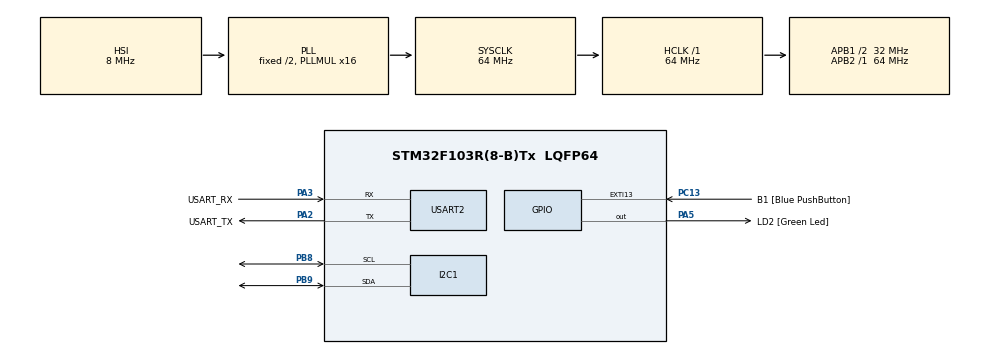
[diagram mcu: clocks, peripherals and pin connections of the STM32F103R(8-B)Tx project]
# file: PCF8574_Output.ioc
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I2C1.I2C_Mode=I2C_Standard
Mcu.Family=STM32F1
Mcu.Name=STM32F103R(8-B)Tx
Mcu.Package=LQFP64
NVIC.EXTI15_10_IRQn=true\:0\:0\:false\:false\:true\:true\:true\:true
NVIC.PriorityGroup=NVIC_PRIORITYGROUP_4
PA13.GPIO_Label=TMS
PA13.Mode=Serial_Wire
PA13.Signal=SYS_JTMS-SWDIO
PA14.GPIO_Label=TCK
PA14.Mode=Serial_Wire
PA14.Signal=SYS_JTCK-SWCLK
PA2.GPIO_Label=USART_TX
PA2.GPIO_Mode=GPIO_MODE_AF_PP
PA2.GPIO_PuPd=GPIO_NOPULL
PA2.GPIO_Speed=GPIO_SPEED_FREQ_LOW
PA2.Mode=Asynchronous
PA2.Signal=USART2_TX
PA3.GPIO_Label=USART_RX
PA3.GPIO_Mode=GPIO_MODE_INPUT
PA3.GPIO_PuPd=GPIO_NOPULL
PA3.Mode=Asynchronous
PA3.Signal=USART2_RX
PA5.GPIO_Label=LD2 [Green Led]
PA5.GPIO_ModeDefaultOutputPP=GPIO_MODE_OUTPUT_PP
PA5.GPIO_PuPd=GPIO_NOPULL
PA5.GPIO_Speed=GPIO_SPEED_FREQ_LOW
PA5.Signal=GPIO_Output
PB3.GPIO_Label=SWO
PB3.Signal=SYS_JTDO-TRACESWO
PB8.Mode=I2C
PB8.Signal=I2C1_SCL
PB9.Mode=I2C
PB9.Signal=I2C1_SDA
PC13-TAMPER-RTC.GPIO_Label=B1 [Blue PushButton]
PC13-TAMPER-RTC.GPIO_PuPd=GPIO_NOPULL
PC13-TAMPER-RTC.Signal=GPXTI13
PC14-OSC32_IN.Mode=LSE-External-Oscillator
PC14-OSC32_IN.Signal=RCC_OSC32_IN
PC15-OSC32_OUT.Mode=LSE-External-Oscillator
PC15-OSC32_OUT.Signal=RCC_OSC32_OUT
PD0-OSC_IN.Mode=HSE-External-Clock-Source
PD0-OSC_IN.Signal=RCC_OSC_IN
PD1-OSC_OUT.Mode=HSE-External-Clock-Source
PD1-OSC_OUT.Signal=RCC_OSC_OUT
ProjectManager.HeapSize=0x200
ProjectManager.StackSize=0x400
ProjectManager.TargetToolchain=STM32CubeIDE
RCC.AHBFreq_Value=64000000
RCC.APB1CLKDivider=RCC_HCLK_DIV2
RCC.APB1Freq_Value=32000000
RCC.APB1TimFreq_Value=64000000
RCC.APB2Freq_Value=64000000
RCC.APB2TimFreq_Value=64000000
RCC.HCLKFreq_Value=64000000
RCC.PLLMUL=RCC_PLL_MUL16
RCC.RTCClockSelection=RCC_RTCCLKSOURCE_LSE
RCC.SYSCLKFreq_VALUE=64000000
RCC.SYSCLKSource=RCC_SYSCLKSOURCE_PLLCLK
RCC.USBFreq_Value=64000000
USART2.VirtualMode=VM_ASYNC
board=NUCLEO-F103RB

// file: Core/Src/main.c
/* USER CODE BEGIN Header */
/**
  ******************************************************************************
  * @file           : main.c
  * @brief          : Main program body
  ******************************************************************************
  * @attention
  *
  * Copyright (c) 2026 STMicroelectronics.
  * All rights reserved.
  *
  * This software is licensed under terms that can be found in the LICENSE file
  * in the root directory of this software component.
  * If no LICENSE file comes with this software, it is provided AS-IS.
  *
  ******************************************************************************
  */
/**
 * 02_PCF8574_Output  —  [계층: HAL]  I2C I/O 확장기 PCF8574 의 8비트 출력 시험
 *
 * 목적
 *   PCF8574 는 I2C 로 받은 1바이트를 P7~P0 핀에 그대로 내보내는 8비트 확장기이다.
 *   이 예제는 LCD 같은 응용 없이 "바이트 하나 쓰기 = 핀 8개 상태" 관계만 확인한다.
 *   다음 예제 03_PCF8574_LCD 는 같은 원리로 문자 LCD(HD44780)를 구동한다.
 *
 * 구성
 *   I2C1 (100kHz, PB8=SCL / PB9=SDA 로 리맵) -> PCF8574 (A2=A1=A0=1, 7비트 주소 0x27)
 *   P0~P7 에 LED 8개: VCC - 저항(330Ω~1kΩ) - LED 애노드 - LED 캐소드 - Px  (액티브 Low)
 *
 * PCF8574 핀 구조 (준양방향, quasi-bidirectional)
 *   비트 = 0 : 강한 Low (전류를 흡수, 수 mA 이상) -> LED 켜짐
 *   비트 = 1 : 약한 풀업(약 100uA)                -> LED 꺼짐. 이 상태의 핀은 입력으로도 쓸 수 있다.
 *   즉 PCF8574 는 전류를 "내보내기"보다 "흡수"를 잘하므로 LED 는 Low 에서 켜지게 연결한다.
 *
 * I2C 프레임
 *   쓰기: START | 0x4E(0x27<<1 | W) | ACK | 데이터 | ACK | STOP  -> 데이터의 ACK 직후 핀이 바뀐다
 *   읽기: START | 0x4F(0x27<<1 | R) | ACK | 핀 상태 | NACK | STOP -> 실제 핀 전압을 읽는다
 *   HAL 은 8비트 형태 주소(0x4E)를 받고 R/W 비트는 함수가 붙인다.
 *
 * 하드웨어 대응 (RM0008)
 *   AFIO_MAPR.I2C1_REMAP = 1 : I2C1 을 PB6/PB7 에서 PB8/PB9 로 이동 (HAL_msp 에서 설정)
 *   I2C1_CR2.FREQ=32, CCR=160, TRISE=33 : PCLK1 32MHz 기준 100kHz 표준 모드
 *
 * I2C 는 폴링 방식의 블로킹 전송이다 (I2C 인터럽트/콜백 없음).
 * 활성화된 ISR (stm32f1xx_it.c)
 *   SysTick_Handler      : 1ms 틱 (HAL_IncTick, HAL_Delay/타임아웃용)
 *   EXTI15_10_IRQHandler : B1(PC13) (CubeMX 기본 설정). HAL_GPIO_EXTI_Callback 을 재정의하지 않으므로
 *                          weak 빈 함수가 실행되고 아무 일도 없다.
 */
/* USER CODE END Header */
#include "main.h"

/* USER CODE BEGIN Includes */
#include <stdio.h>
/* USER CODE END Includes */

/* USER CODE BEGIN PD */
#define PCF_ADDR   (0x27 << 1)   // HAL 주소 인자 = 7비트 주소 0x27 을 1비트 왼쪽 시프트 = 0x4E
#define STEP_MS    300           // 패턴 하나를 보여 주는 시간 [ms]
/* USER CODE END PD */

I2C_HandleTypeDef hi2c1;

UART_HandleTypeDef huart2;

/* USER CODE BEGIN PV */
/* 출력 패턴 표 (액티브 Low: 0 인 비트의 LED 가 켜진다)
 *   0xFF : 모두 끔 (전원 투입 직후 PCF8574 의 기본 상태와 같다)
 *   0x00 : 모두 켬
 *   0xFE, 0xFD, ... 0x7F : LED 하나가 P0 -> P7 로 이동
 *   0xAA, 0x55 : 하나 건너 하나 */
static const uint8_t patterns[] = {
  0xFF, 0x00,
  0xFE, 0xFD, 0xFB, 0xF7, 0xEF, 0xDF, 0xBF, 0x7F,
  0xAA, 0x55
};
/* USER CODE END PV */

void SystemClock_Config(void);
static void MX_GPIO_Init(void);
static void MX_I2C1_Init(void);
static void MX_USART2_UART_Init(void);

/* USER CODE BEGIN 0 */
// printf -> UART2 (PA2) 리다이렉션
#ifdef __GNUC__
#define PUTCHAR_PROTOTYPE int __io_putchar(int ch)
#else
#define PUTCHAR_PROTOTYPE int fputc(int ch, FILE *f)
#endif
PUTCHAR_PROTOTYPE {
	if (ch == '\n')
		HAL_UART_Transmit(&huart2, (uint8_t*) "\r", 1, 0xFFFF);
	HAL_UART_Transmit(&huart2, (uint8_t*) &ch, 1, 0xFFFF);
	return ch;
}

/* PCF8574 에 1바이트 쓰기: 비트 n 이 핀 Pn 의 출력이 된다.
 * HAL_I2C_Master_Transmit 이 I2C1_CR1.START -> DR(주소) -> SR1.ADDR -> DR(데이터) -> SR1.BTF -> CR1.STOP
 * 순서를 폴링으로 처리한다. 주소 NACK(SR1.AF) 이면 HAL_ERROR 를 돌려준다. */
static HAL_StatusTypeDef pcf_write(uint8_t value)
{
	return HAL_I2C_Master_Transmit(&hi2c1, PCF_ADDR, &value, 1, 10);
}

/* PCF8574 에서 1바이트 읽기: 핀 P7~P0 의 실제 전압 레벨을 돌려준다(출력 래치 값이 아니다). */
static HAL_StatusTypeDef pcf_read(uint8_t *value)
{
	return HAL_I2C_Master_Receive(&hi2c1, PCF_ADDR, value, 1, 10);
}

/* 한 줄 출력 예: W=0xFE R=0xFE  P7..P0=11111110  LED=-------*
 * LED 표시는 P7 이 왼쪽, P0 이 오른쪽이며 '*' 가 켜진 LED(비트 0)이다. */
static void print_state(uint8_t w, uint8_t r)
{
	char bits[9], led[9];
	for (int i = 0; i < 8; i++) {
		uint8_t b = (w >> (7 - i)) & 1u;
		bits[i] = b ? '1' : '0';
		led[i]  = b ? '-' : '*';
	}
	bits[8] = led[8] = '\0';
	printf("W=0x%02X R=0x%02X  P7..P0=%s  LED=%s%s\n",
	       w, r, bits, led, (w == r) ? "" : "  <- R differs (pin pulled low externally?)");
}
/* USER CODE END 0 */

int main(void)
{

  /* MCU Configuration--------------------------------------------------------*/

  /* Reset of all peripherals, Initializes the Flash interface and the Systick. */
  HAL_Init();

  /* Configure the system clock */
  SystemClock_Config();

  /* Initialize all configured peripherals */
  MX_GPIO_Init();
  MX_I2C1_Init();
  MX_USART2_UART_Init();
  /* USER CODE BEGIN 2 */
  HAL_Delay(100);   // PCF8574 전원 안정 대기
  printf("\n01_PCF8574_Output: PCF8574 @ 0x%02X (7bit 0x%02X)\n", PCF_ADDR, PCF_ADDR >> 1);

  // 1. 장치 확인: 주소만 보내고 ACK 를 기다린다 (SR1.ADDR=1 이면 ACK, SR1.AF=1 이면 NACK)
  if (HAL_I2C_IsDeviceReady(&hi2c1, PCF_ADDR, 3, 10) != HAL_OK) {
    printf("NACK: no response. Check wiring (PB8=SCL, PB9=SDA), pull-ups, A2..A0 pins\n");
  } else {
    printf("ACK: PCF8574 found\n");
  }

  // 2. 시작 상태: 모두 끔(0xFF). 전원 투입 직후 PCF8574 의 출력도 0xFF 이다.
  pcf_write(0xFF);
  uint32_t idx = 0;   // patterns[] 위치
  /* USER CODE END 2 */

  /* Infinite loop */
  while (1)
  {

    /* USER CODE BEGIN 3 */
    // 3. 패턴 하나 쓰기 -> 다시 읽어 비교 -> UART 출력
    uint8_t w = patterns[idx];
    uint8_t r = 0;
    if (pcf_write(w) != HAL_OK) {
      printf("write NACK/timeout (err=0x%08lX)\n", (unsigned long) HAL_I2C_GetError(&hi2c1));
    } else if (pcf_read(&r) != HAL_OK) {
      printf("read NACK/timeout (err=0x%08lX)\n", (unsigned long) HAL_I2C_GetError(&hi2c1));
    } else {
      print_state(w, r);
    }

    idx = (idx + 1) % (sizeof patterns / sizeof patterns[0]);
    if (idx == 0) printf("----\n");   // 한 바퀴 끝

    HAL_GPIO_TogglePin(LD2_GPIO_Port, LD2_Pin);   // 살아 있음 표시 (PA5)
    HAL_Delay(STEP_MS);
  }
  /* USER CODE END 3 */
}

void SystemClock_Config(void)
{
  RCC_OscInitTypeDef RCC_OscInitStruct = {0};
  RCC_ClkInitTypeDef RCC_ClkInitStruct = {0};

  /** Initializes the RCC Oscillators according to the specified parameters
  * in the RCC_OscInitTypeDef structure.
  */
  RCC_OscInitStruct.OscillatorType = RCC_OSCILLATORTYPE_HSI;
  RCC_OscInitStruct.HSIState = RCC_HSI_ON;
  RCC_OscInitStruct.HSICalibrationValue = RCC_HSICALIBRATION_DEFAULT;
  RCC_OscInitStruct.PLL.PLLState = RCC_PLL_ON;
  RCC_OscInitStruct.PLL.PLLSource = RCC_PLLSOURCE_HSI_DIV2;
  RCC_OscInitStruct.PLL.PLLMUL = RCC_PLL_MUL16;
  if (HAL_RCC_OscConfig(&RCC_OscInitStruct) != HAL_OK)
  {
    Error_Handler();
  }

  /** Initializes the CPU, AHB and APB buses clocks
  */
  RCC_ClkInitStruct.ClockType = RCC_CLOCKTYPE_HCLK|RCC_CLOCKTYPE_SYSCLK
                              |RCC_CLOCKTYPE_PCLK1|RCC_CLOCKTYPE_PCLK2;
  RCC_ClkInitStruct.SYSCLKSource = RCC_SYSCLKSOURCE_PLLCLK;
  RCC_ClkInitStruct.AHBCLKDivider = RCC_SYSCLK_DIV1;
  RCC_ClkInitStruct.APB1CLKDivider = RCC_HCLK_DIV2;
  RCC_ClkInitStruct.APB2CLKDivider = RCC_HCLK_DIV1;

  if (HAL_RCC_ClockConfig(&RCC_ClkInitStruct, FLASH_LATENCY_2) != HAL_OK)
  {
    Error_Handler();
  }
}

static void MX_I2C1_Init(void)
{

  hi2c1.Instance = I2C1;
  hi2c1.Init.ClockSpeed = 100000;
  hi2c1.Init.DutyCycle = I2C_DUTYCYCLE_2;
  hi2c1.Init.OwnAddress1 = 0;
  hi2c1.Init.AddressingMode = I2C_ADDRESSINGMODE_7BIT;
  hi2c1.Init.DualAddressMode = I2C_DUALADDRESS_DISABLE;
  hi2c1.Init.OwnAddress2 = 0;
  hi2c1.Init.GeneralCallMode = I2C_GENERALCALL_DISABLE;
  hi2c1.Init.NoStretchMode = I2C_NOSTRETCH_DISABLE;
  if (HAL_I2C_Init(&hi2c1) != HAL_OK)
  {
    Error_Handler();
  }
  /* USER CODE BEGIN I2C1_Init 2 */
  // HAL_I2C_Init 결과 (PCLK1 = 32MHz): CR2.FREQ = 32, CCR = 160 (F/S=0, 100kHz), TRISE = 33
  /* USER CODE END I2C1_Init 2 */

}

static void MX_USART2_UART_Init(void)
{

  huart2.Instance = USART2;
  huart2.Init.BaudRate = 115200;
  huart2.Init.WordLength = UART_WORDLENGTH_8B;
  huart2.Init.StopBits = UART_STOPBITS_1;
  huart2.Init.Parity = UART_PARITY_NONE;
  huart2.Init.Mode = UART_MODE_TX_RX;
  huart2.Init.HwFlowCtl = UART_HWCONTROL_NONE;
  huart2.Init.OverSampling = UART_OVERSAMPLING_16;
  if (HAL_UART_Init(&huart2) != HAL_OK)
  {
    Error_Handler();
  }

}

static void MX_GPIO_Init(void)
{
  GPIO_InitTypeDef GPIO_InitStruct = {0};

  /* GPIO Ports Clock Enable */
  __HAL_RCC_GPIOC_CLK_ENABLE();
  __HAL_RCC_GPIOD_CLK_ENABLE();
  __HAL_RCC_GPIOA_CLK_ENABLE();
  __HAL_RCC_GPIOB_CLK_ENABLE();

  /*Configure GPIO pin Output Level */
  HAL_GPIO_WritePin(LD2_GPIO_Port, LD2_Pin, GPIO_PIN_RESET);

  /*Configure GPIO pin : B1_Pin */
  GPIO_InitStruct.Pin = B1_Pin;
  GPIO_InitStruct.Mode = GPIO_MODE_IT_RISING;
  GPIO_InitStruct.Pull = GPIO_NOPULL;
  HAL_GPIO_Init(B1_GPIO_Port, &GPIO_InitStruct);

  /*Configure GPIO pin : LD2_Pin */
  GPIO_InitStruct.Pin = LD2_Pin;
  GPIO_InitStruct.Mode = GPIO_MODE_OUTPUT_PP;
  GPIO_InitStruct.Pull = GPIO_NOPULL;
  GPIO_InitStruct.Speed = GPIO_SPEED_FREQ_LOW;
  HAL_GPIO_Init(LD2_GPIO_Port, &GPIO_InitStruct);

  /* EXTI interrupt init*/
  HAL_NVIC_SetPriority(EXTI15_10_IRQn, 0, 0);
  HAL_NVIC_EnableIRQ(EXTI15_10_IRQn);

}

void Error_Handler(void)
{
  __disable_irq();
  while (1)
  {
  }
}
